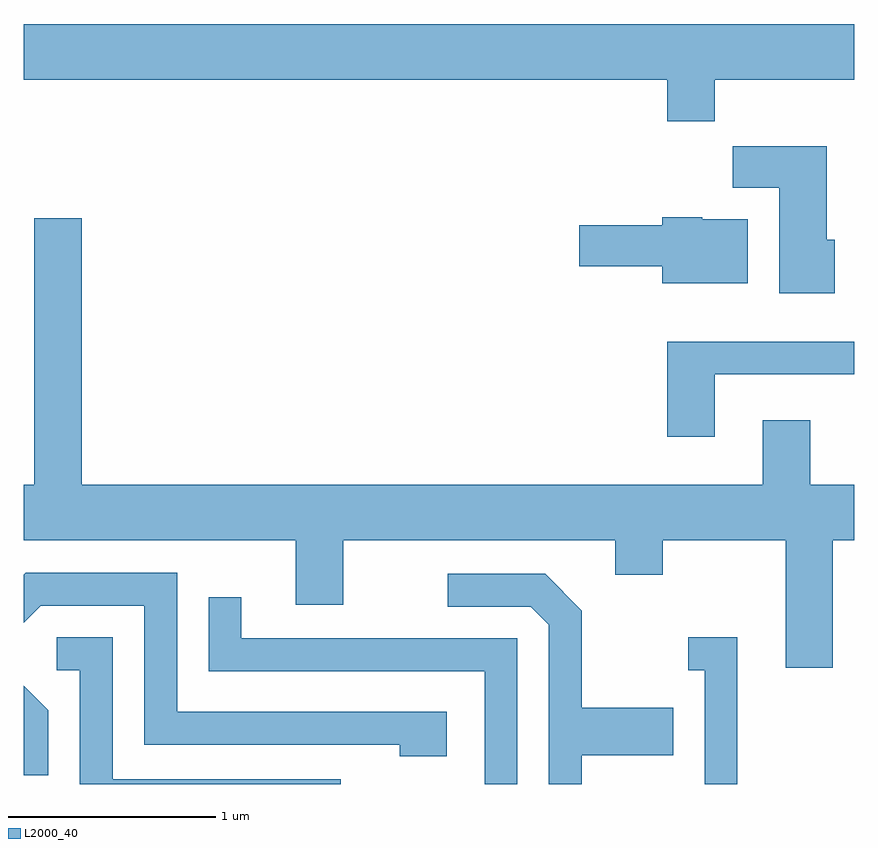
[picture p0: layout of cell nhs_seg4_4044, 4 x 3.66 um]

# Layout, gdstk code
import gdstk
lib = gdstk.Library(unit=1e-6, precision=1e-09)
def P(c, l, *ps):  # polygons
    for p in ps: c.add(gdstk.Polygon(p, *l))
L2000_40 = (2000, 40)

nhs_seg4_4044 = lib.new_cell('nhs_seg4_4044')
P(nhs_seg4_4044, L2000_40, [(306.939,1321.376),(307.611,1321.376),(307.611,1321.644),(303.611,1321.644),(303.611,1321.376),(306.711,1321.376),(306.711,1321.176),(306.939,1321.176)],
  [(307.519,1320.604),(307.479,1320.604),(307.479,1321.054),(307.026,1321.054),(307.026,1320.856),(307.251,1320.856),(307.251,1320.346),(307.519,1320.346)],
  [(307.099,1320.704),(306.88,1320.704),(306.88,1320.714),(306.686,1320.714),(306.686,1320.674),(306.286,1320.674),(306.286,1320.476),(306.686,1320.476),(306.686,1320.396),(307.099,1320.396)],
  [(307.509,1319.156),(307.611,1319.156),(307.611,1319.424),(307.399,1319.424),(307.399,1319.734),(307.171,1319.734),(307.171,1319.424),(303.889,1319.424),(303.889,1320.709),(303.661,1320.709),(303.661,1319.424),(303.611,1319.424),(303.611,1319.156),(304.921,1319.156),(304.921,1318.846),(305.149,1318.846),(305.149,1319.156),(306.461,1319.156),(306.461,1318.991),(306.689,1318.991),(306.689,1319.156),(307.281,1319.156),(307.281,1318.541),(307.509,1318.541)],
  [(306.939,1319.956),(307.611,1319.956),(307.611,1320.114),(306.711,1320.114),(306.711,1319.656),(306.939,1319.656)],
  [(305.649,1318.329),(304.349,1318.329),(304.349,1318.999),(303.619,1318.999),(303.611,1318.991),(303.611,1318.76),(303.692,1318.841),(304.191,1318.841),(304.191,1318.171),(305.421,1318.171),(305.421,1318.116),(305.649,1318.116)],
  [(306.299,1318.121),(306.739,1318.121),(306.739,1318.349),(306.299,1318.349),(306.299,1318.817),(306.122,1318.994),(305.653,1318.994),(305.653,1318.836),(306.054,1318.836),(306.141,1318.749),(306.141,1317.982),(306.299,1317.982)],
  [(305.989,1318.684),(304.659,1318.684),(304.659,1318.883),(304.501,1318.883),(304.501,1318.526),(305.831,1318.526),(305.831,1317.982),(305.989,1317.982)],
  [(305.138,1318.004),(304.039,1318.004),(304.039,1318.689),(303.768,1318.689),(303.768,1318.531),(303.881,1318.531),(303.881,1317.982),(305.138,1317.982)],
  [(307.049,1318.689),(306.813,1318.689),(306.813,1318.531),(306.891,1318.531),(306.891,1317.982),(307.049,1317.982)],
  [(303.729,1318.337),(303.611,1318.455),(303.611,1318.023),(303.729,1318.023)])

lib.write_gds('nhs_seg4_4044.gds')
